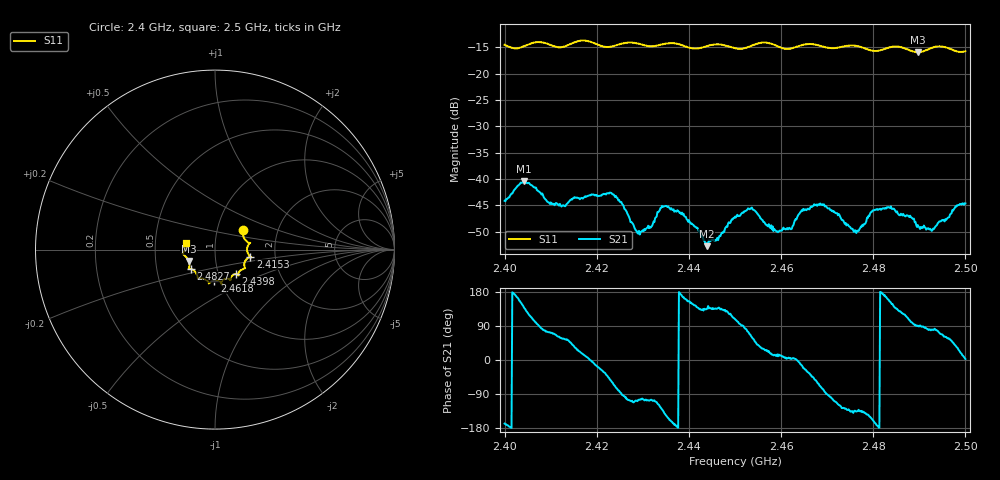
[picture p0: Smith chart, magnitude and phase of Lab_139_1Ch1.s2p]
# Hz S RI R 50
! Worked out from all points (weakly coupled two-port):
!   601 points, 2.4 GHz to 2.5 GHz, reference 50 ohm
!   highest |S21| = -40.43 dB at 2.4042 GHz (marker M1); lowest = -52.8 dB at 2.4438 GHz (marker M2)
!   lowest |S11| = -15.9 dB at 2.4897 GHz (marker M3), VSWR 1.38, Z = 36.9 - j4.83 ohm
!   |S11| at or under -10 dB: start of sweep to end of sweep
!   S12 and S22 are empty: the file has one direction only
!   S11 on the Smith chart (normalised r, x): 2.4 GHz: 1.33, +0.29; 2.4153 GHz: 1.48, -0.12; 2.4398 GHz: 1.21, -0.34; 2.4618 GHz: 0.94, -0.33; 2.4827 GHz: 0.75, -0.17; 2.5 GHz: 0.72, +0.06
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2.4e9  0.1553 0.1069  -0.00607 -0.00131  0 0  0 0
2.404167e9  0.1766 0.046  -0.00721 0.00621  0 0  0 0
2.410333e9  0.1833 0.0228  0.00189 0.00554  0 0  0 0
2.415333e9  0.1963 -0.0393  0.00563 0.00354  0 0  0 0
2.416667e9  0.2021 -0.0431  0.00629 0.00208  0 0  0 0
2.423333e9  0.1629 -0.0806  0.00373 -0.00618  0 0  0 0
2.429e9  0.1616 -0.1063  -0.000799 -0.00293  0 0  0 0
2.433333e9  0.1297 -0.1339  -0.00219 -0.00431  0 0  0 0
2.435167e9  0.1297 -0.1438  -0.0047 -0.00293  0 0  0 0
2.439833e9  0.1154 -0.1355  -0.00355 0.00167  0 0  0 0
2.443833e9  0.0858 -0.1617  -0.0016 0.00166  0 0  0 0
2.45e9  0.0656 -0.1622  -0.00137 0.00418  0 0  0 0
2.453333e9  0.0372 -0.1791  0.00207 0.00484  0 0  0 0
2.458833e9  0.0321 -0.1827  0.00317 0.000631  0 0  0 0
2.461833e9  -0.00332 -0.1726  0.00343 0.000246  0 0  0 0
2.466667e9  -0.0346 -0.1882  0.0039 -0.00377  0 0  0 0
2.476333e9  -0.096 -0.157  -0.00221 -0.00213  0 0  0 0
2.482667e9  -0.1351 -0.1084  -0.00518 0.00122  0 0  0 0
2.483333e9  -0.1402 -0.108  -0.00505 0.00195  0 0  0 0
2.489667e9  -0.1468 -0.0636  -4.56e-05 0.00365  0 0  0 0
2.493e9  -0.1759 -0.0267  0.000644 0.00332  0 0  0 0
2.5e9  -0.1592 0.0387  0.00586 0.000274  0 0  0 0
